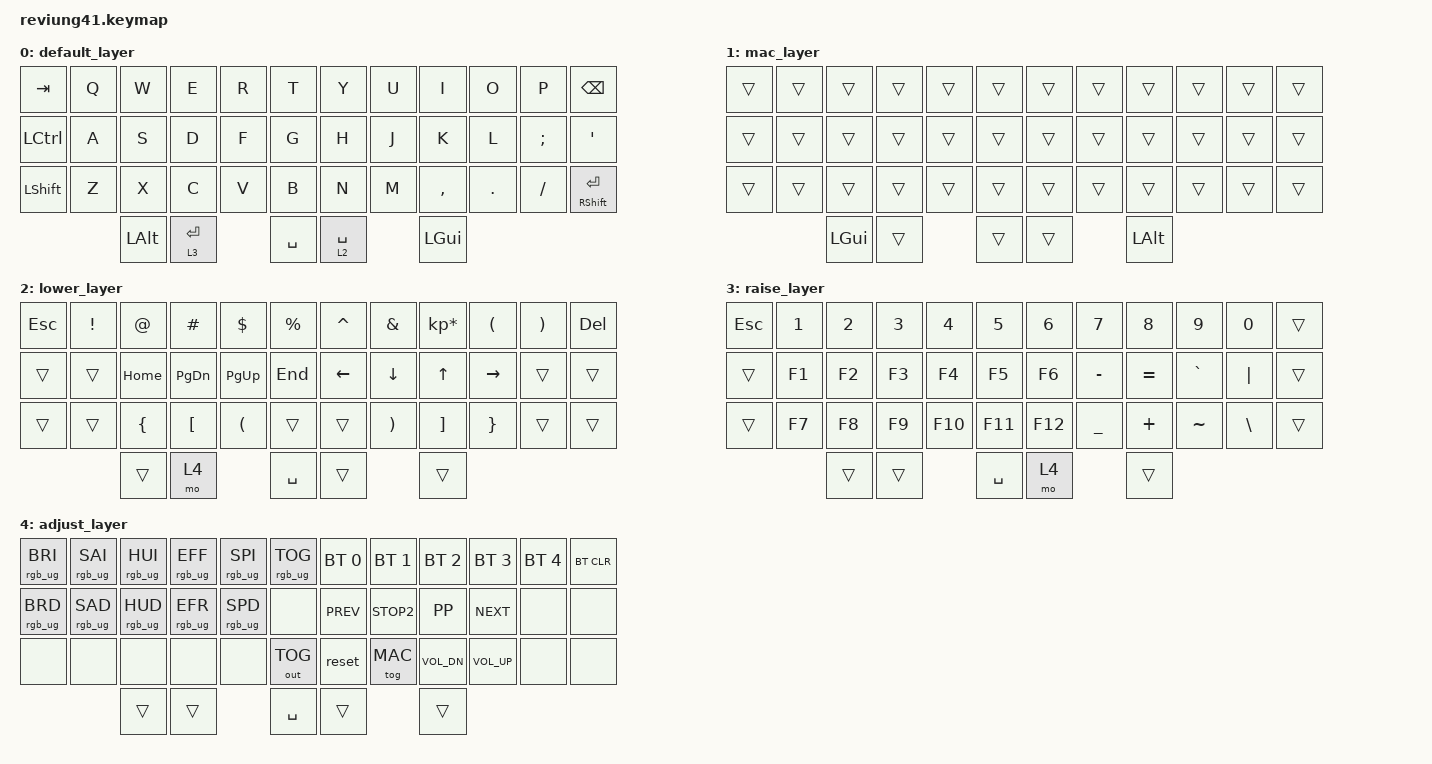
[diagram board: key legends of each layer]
/*
 * Copyright (c) 2020 The ZMK Contributors
 *
 * SPDX-License-Identifier: MIT
 */

#include <behaviors.dtsi>
#include <dt-bindings/zmk/keys.h>
#include <dt-bindings/zmk/bt.h>
#include <dt-bindings/zmk/rgb.h>
#include <dt-bindings/led/led.h>
#include <dt-bindings/zmk/outputs.h>
#define MAC 1

&spi1 {
	compatible = "nordic,nrf-spim";
	status = "okay";
	mosi-pin = <6>;
	// Unused pins, needed for SPI definition, but not used by the ws2812 driver itself.
	sck-pin = <5>;
	miso-pin = <7>;

	led_strip: ws2812@0 {
		compatible = "worldsemi,ws2812-spi";
		label = "WS2812";
    
		/* SPI */
		reg = <0>; /* ignored, but necessary for SPI bindings */
		spi-max-frequency = <4000000>;

		/* WS2812 */
		chain-length = <11>; /* arbitrary; change at will */
		spi-one-frame = <0x70>;
		spi-zero-frame = <0x40>;
		color-mapping = <LED_COLOR_ID_GREEN LED_COLOR_ID_RED LED_COLOR_ID_BLUE>;
	};
};

/ {
	chosen {
		zmk,underglow = &led_strip;
	};
};

/ {behaviors {
		/omit-if-no-ref/ lt: behavior_layer_tap {
			compatible = "zmk,behavior-hold-tap";
			label = "LAYER_TAP";
			#binding-cells = <2>;
			flavor = "hold-preferred";
			tapping-term-ms = <200>;
			bindings = <&mo>, <&kp>;
		};
	};
};
/ {
        keymap {
                compatible = "zmk,keymap";

                default_layer {
// -------------------------------------------------------------------------------------
// |  TAB |  Q  |  W  |  E  |  R  |  T  |   |  Y  |  U   |  I  |  O  |  P  |   BKSP    |
// | CTRL |  A  |  S  |  D  |  F  |  G  |   |  H  |  J   |  K  |  L  |  ;  |    '      |
// | SHFT |  Z  |  X  |  C  |  V  |  B  |   |  N  |  M   |  ,  |  .  |  /  | SHFT(RET) |
//                         | ALT | LWR | SPC | RSE  | GUI |
                        bindings = <
   &kp TAB   &kp Q &kp W &kp E &kp R &kp T    &kp Y &kp U  &kp I     &kp O   &kp P    &kp BSPC
   &kp LCTRL &kp A &kp S &kp D &kp F &kp G    &kp H &kp J  &kp K     &kp L   &kp SEMI &kp SQT
   &kp LSHFT &kp Z &kp X &kp C &kp V &kp B    &kp N &kp M  &kp COMMA &kp DOT &kp FSLH &mt RSHFT RET
                  &kp LALT  &lt 3 RET &kp SPACE &lt 2 SPACE &kp LGUI 
                        >;
                };

                mac_layer {
// -------------------------------------------------------------------------------------
// |  TAB |  Q  |  W  |  E  |  R  |  T  |   |  Y  |  U   |  I  |  O  |  P  |   BKSP    |
// | CTRL |  A  |  S  |  D  |  F  |  G  |   |  H  |  J   |  K  |  L  |  ;  |    '      |
// | SHFT |  Z  |  X  |  C  |  V  |  B  |   |  N  |  M   |  ,  |  .  |  /  | SHFT(RET) |
//                         | GUI | LWR | SPC | RSE  | ALT |
                        bindings = <
   &trans   &trans &trans &trans &trans &trans    &trans &trans  &trans     &trans   &trans    &trans
   &trans   &trans &trans &trans &trans &trans    &trans &trans  &trans     &trans   &trans    &trans
   &trans   &trans &trans &trans &trans &trans    &trans &trans  &trans     &trans   &trans    &trans
                  &kp LGUI  &trans &trans &trans &kp LALT 
                        >;
                };

                lower_layer {
// -----------------------------------------------------------------------------------------
// | ESC |  !  |  @  |  #  |  $  |  %  |   |  ^  |  &  |  *  |  (  |  )  |    DEL    |
// |     |     | HOME | PG_DN | PG_UP | END |   | LFT | DWN  | UP   | RGT  |     |     |
// |     |     | LBRC | LBKT  | LPAR  |     |   |     | RPAR | RBKT | RBRC |     |     |
//                       |     |     |  SPC  | ADJ  |     |
                        bindings = <
   &kp ESC &kp EXCL  &kp AT      &kp HASH &kp DLLR &kp PRCNT      &kp CARET &kp AMPS &kp KP_MULTIPLY    &kp LPAR  &kp RPAR  &kp DEL
   &trans  &trans    &kp HOME  &kp PG_DN &kp PG_UP &kp END       &kp LEFT  &kp DOWN  &kp UP    &kp RIGHT &trans    &trans
   &trans  &trans    &kp LBRC  &kp LBKT  &kp LPAR  &trans        &trans    &kp RPAR  &kp RBKT  &kp RBRC  &trans    &trans
                                &trans      &mo 4       &kp SPACE      &trans      &trans
                        >;
                };

                raise_layer {
// ----------------------------------------------------------------------------------
// | ESC |  1  |  2  |  3  |  4  |  5  |   |  6  |  7  |  8  |  9  |  0  |     |
// |     |  F1 | F2  | F3  | F4  |  F5 |   | F6  |  -  |  =  |  `  | "|" |     |
// |     |  F7 | F8  | F9  | F10 | F11 |   | F12 |  _  |  +  |  ~  |  \  |     |
//                      |     |  ADJ |  SPC  |     |     |
                        bindings = <
   &kp ESC &kp N1    &kp N2    &kp N3    &kp N4    &kp N5        &kp N6    &kp N7    &kp N8    &kp N9    &kp N0    &trans
   &trans  &kp F1   &kp F2 &kp F3   &kp F4   &kp F5         &kp F6    &kp MINUS &kp EQUAL &kp GRAVE &kp PIPE  &trans
   &trans  &kp F7   &kp F8 &kp F9   &kp F10  &kp F11        &kp F12   &kp UNDER &kp PLUS  &kp TILDE &kp BSLH  &trans
                            &trans      &trans       &kp SPACE        &mo 4       &trans
                        >;
                };
                adjust_layer {
// -----------------------------------------------------------------------------------------
// | RGB BRI+ | RGB SAT+ | RGB HUE+ | RGB ANI+ | RGB SPD+ | RGB TOG |      | BT 0  |  BT1  | BT2     | BT3  | BT4 | BT CLR |
// | RGB BRI- | RGB SAT- | RGB HUE- | RGB ANI+ | RGB SPD- |         |      | PREV  | PAUSE | PLAY    | NEXT |     |        |
// |          |          |          |          |          | OUT TOG |      | RESET |MAC TOG|       | VOL-    | VOL+    |        |
//                                                     |     |     |  SPACE  |     |     |
                        bindings = <
   &rgb_ug RGB_BRI &rgb_ug RGB_SAI &rgb_ug RGB_HUI &rgb_ug RGB_EFF &rgb_ug RGB_SPI &rgb_ug RGB_TOG      &bt BT_SEL 0 &bt BT_SEL 1 &bt BT_SEL 2 &bt BT_SEL 3 &bt BT_SEL 4 &bt BT_CLR
   &rgb_ug RGB_BRD &rgb_ug RGB_SAD &rgb_ug RGB_HUD &rgb_ug RGB_EFR &rgb_ug RGB_SPD &none     &kp K_PREV   &kp K_STOP2  &kp K_PP     &kp K_NEXT   &none        &none
   &none           &none           &none           &none           &none           &out OUT_TOG     &reset       &tog MAC &kp C_VOL_DN        &kp C_VOL_UP        &none        &none
                                                                     &trans      &trans         &kp SPACE     &trans      &trans
                        >;
                };
                

        };
};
